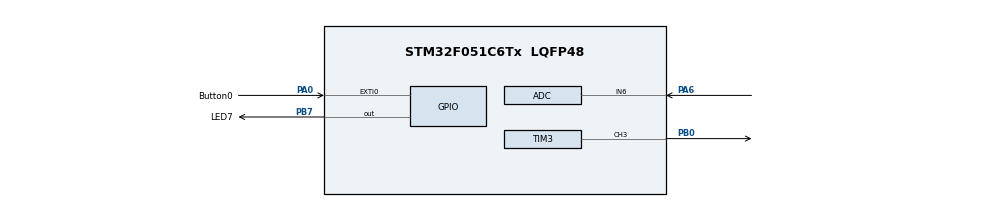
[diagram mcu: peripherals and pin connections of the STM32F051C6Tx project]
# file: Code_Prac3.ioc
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ADC.Resolution=ADC_RESOLUTION_12B
Mcu.Family=STM32F0
Mcu.Name=STM32F051C6Tx
Mcu.Package=LQFP48
NVIC.EXTI0_1_IRQn=true\:0\:0\:false\:true\:true\:1\:true\:true\:true
PA0.GPIO_Label=Button0
PA0.GPIO_PuPd=GPIO_PULLUP
PA0.Signal=GPXTI0
PA13.Mode=Serial_Wire
PA13.Signal=SYS_SWDIO
PA14.Mode=Serial_Wire
PA14.Signal=SYS_SWCLK
PA6.Mode=IN6
PA6.Signal=ADC_IN6
PB0.Signal=S_TIM3_CH3
PB7.GPIO_Label=LED7
PB7.Signal=GPIO_Output
PF0-OSC_IN.Mode=HSE-External-Oscillator
PF0-OSC_IN.Signal=RCC_OSC_IN
PF1-OSC_OUT.Mode=HSE-External-Oscillator
PF1-OSC_OUT.Signal=RCC_OSC_OUT
ProjectManager.HeapSize=0x200
ProjectManager.StackSize=0x400
ProjectManager.TargetToolchain=STM32CubeIDE
SH.S_TIM3_CH3.0=TIM3_CH3,PWM Generation3 CH3
TIM3.Channel-PWM\ Generation3\ CH3=TIM_CHANNEL_3
TIM3.Period=47999
VP_TIM3_VS_ClockSourceINT.Mode=Internal
board=custom

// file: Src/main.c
/* USER CODE BEGIN Header */
/**
  ******************************************************************************
  * @file           : main.c
  * @brief          : Main program body
  ******************************************************************************
  * @attention
  *
  * Copyright (c) 2023 STMicroelectronics.
  * All rights reserved.
  *
  * This software is licensed under terms that can be found in the LICENSE file
  * in the root directory of this software component.
  * If no LICENSE file comes with this software, it is provided AS-IS.
  *
  ******************************************************************************
  */
/* USER CODE END Header */
#include "main.h"
#include "adc.h"
#include "tim.h"
#include "gpio.h"

/* USER CODE BEGIN Includes */
#include <stdio.h>
#include "stm32f0xx.h"
#include <lcd_stm32f0.c>
/* USER CODE END Includes */

/* USER CODE BEGIN PV */
uint32_t prev_millis = 0;
uint32_t curr_millis = 0;
uint32_t delay_t = 500; // Initialise delay to 500ms
uint32_t adc_val;
/* USER CODE END PV */

void SystemClock_Config(void);
static void MX_NVIC_Init(void);
/* USER CODE BEGIN PFP */
void EXTI0_1_IRQHandler(void);
void writeLCD(char *char_in);
uint32_t pollADC(void);
uint32_t ADCtoCCR(uint32_t adc_val);
/* USER CODE END PFP */

int main(void)
{

    /* MCU Configuration--------------------------------------------------------*/

    /* Reset of all peripherals, Initializes the Flash interface and the Systick. */
    HAL_Init();

    /* Configure the system clock */
    SystemClock_Config();

    /* Initialize all configured peripherals */
    MX_GPIO_Init();
    MX_ADC_Init();
    MX_TIM3_Init();

    /* Initialize interrupts */
    MX_NVIC_Init();
    /* USER CODE BEGIN 2 */
    init_LCD();

    // PWM setup
    uint32_t CCR = 0;
    HAL_TIM_PWM_Start(&htim3, TIM_CHANNEL_3); // Start PWM on TIM3 Channel 3
    /* USER CODE END 2 */

    /* Infinite loop */
    /* USER CODE BEGIN WHILE */
    while (1)
    {
        // Toggle LED0
        HAL_GPIO_TogglePin(GPIOB, LED7_Pin);

        // ADC to LCD; TODO: Read POT1 value and write to LCD

        // Update PWM value; TODO: Get CRR

                __HAL_TIM_SetCompare(&htim3, TIM_CHANNEL_3, CCR);

        // Wait for delay ms
        HAL_Delay (delay_t);
        /* USER CODE END WHILE */

    }
}

void SystemClock_Config(void)
{
    LL_FLASH_SetLatency(LL_FLASH_LATENCY_0);
    while(LL_FLASH_GetLatency() != LL_FLASH_LATENCY_0)
    {
    }
    LL_RCC_HSI_Enable();

    /* Wait till HSI is ready */
    while(LL_RCC_HSI_IsReady() != 1)
    {

    }
    LL_RCC_HSI_SetCalibTrimming(16);
    LL_RCC_HSI14_Enable();

    /* Wait till HSI14 is ready */
    while(LL_RCC_HSI14_IsReady() != 1)
    {

    }
    LL_RCC_HSI14_SetCalibTrimming(16);
    LL_RCC_SetAHBPrescaler(LL_RCC_SYSCLK_DIV_1);
    LL_RCC_SetAPB1Prescaler(LL_RCC_APB1_DIV_1);
    LL_RCC_SetSysClkSource(LL_RCC_SYS_CLKSOURCE_HSI);

    /* Wait till System clock is ready */
    while(LL_RCC_GetSysClkSource() != LL_RCC_SYS_CLKSOURCE_STATUS_HSI)
    {

    }
    LL_SetSystemCoreClock(8000000);

    /* Update the time base */
    if (HAL_InitTick (TICK_INT_PRIORITY) != HAL_OK)
    {
        Error_Handler();
    }
    LL_RCC_HSI14_EnableADCControl();
}

/**
  * @brief NVIC Configuration.
  * @retval None
  */
static void MX_NVIC_Init(void)
{
    /* EXTI0_1_IRQn interrupt configuration */
    NVIC_SetPriority(EXTI0_1_IRQn, 0);
    NVIC_EnableIRQ(EXTI0_1_IRQn);
}

/* USER CODE BEGIN 4 */
void HAL_GPIO_EXTI_Callback(uint16_t GPIO_Pin) {
    // TODO: Add code to switch LED7 delay frequency
    if (GPIO_Pin == Button0_Pin) {
        if (delay_t == 500)
            delay_t = 1000;
        else
            delay_t = 500;
    } else {
        __NOP();
    }
}

// TODO: Complete the writeLCD function
void writeLCD(char *char_in){
    delay(3000);
    lcd_command(CLEAR);

}

// Get ADC value
uint32_t pollADC(void){
    // TODO: Complete function body to get ADC val
    HAL_ADC_Start(&hadc);
    HAL_ADC_PollForConversion(&hadc, 1000);
    uint32_t val = HAL_ADC_GetValue(&hadc);
    return val;
}

// Calculate PWM CCR value
uint32_t ADCtoCCR(uint32_t adc_val){
    // TODO: Calculate CCR val using an appropriate equation
    uint32_t val = 0;
    return val;
}

void ADC1_COMP_IRQHandler(void)
{
    adc_val = HAL_ADC_GetValue(&hadc); // read adc value
    HAL_ADC_IRQHandler(&hadc); //Clear flags
}
/* USER CODE END 4 */

void Error_Handler(void)
{
    __disable_irq();
    while (1)
    {
    }
}
